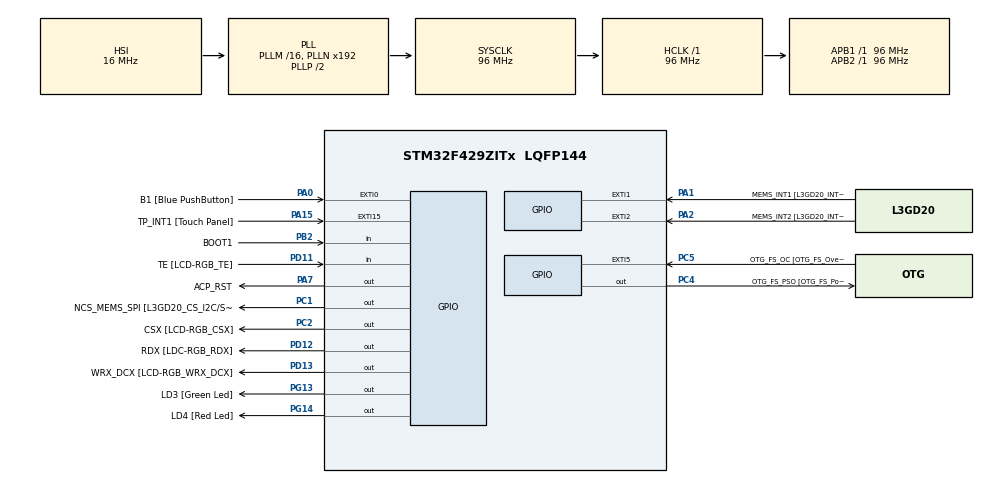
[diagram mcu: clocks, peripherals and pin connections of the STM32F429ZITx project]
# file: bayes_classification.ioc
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Mcu.Family=STM32F4
Mcu.Name=STM32F429ZITx
Mcu.Package=LQFP144
NVIC.PriorityGroup=NVIC_PRIORITYGROUP_0
PA0/WKUP.GPIO_Label=B1 [Blue PushButton]
PA0/WKUP.GPIO_ModeDefaultEXTI=GPIO_MODE_EVT_RISING
PA0/WKUP.GPIO_PuPd=GPIO_NOPULL
PA0/WKUP.Signal=GPXTI0
PA1.GPIO_Label=MEMS_INT1 [L3GD20_INT1]
PA1.GPIO_ModeDefaultEXTI=GPIO_MODE_EVT_RISING
PA1.GPIO_PuPd=GPIO_NOPULL
PA1.Signal=GPXTI1
PA10.GPIO_Label=STLINK_TX [STM32F103CBT6_PA2]
PA10.Signal=USART1_RX
PA11.GPIO_Label=R4
PA11.GPIO_Mode=GPIO_MODE_AF_PP
PA11.GPIO_PuPd=GPIO_NOPULL
PA11.GPIO_Speed=GPIO_SPEED_FREQ_LOW
PA11.Signal=LTDC_R4
PA12.GPIO_Label=R5
PA12.GPIO_Mode=GPIO_MODE_AF_PP
PA12.GPIO_PuPd=GPIO_NOPULL
PA12.GPIO_Speed=GPIO_SPEED_FREQ_LOW
PA12.Signal=LTDC_R5
PA13.GPIO_Label=SWDIO
PA13.Signal=SYS_JTMS-SWDIO
PA14.GPIO_Label=SWCLK
PA14.Signal=SYS_JTCK-SWCLK
PA15.GPIO_Label=TP_INT1 [Touch Panel]
PA15.GPIO_ModeDefaultEXTI=GPIO_MODE_EVT_RISING
PA15.GPIO_PuPd=GPIO_NOPULL
PA15.Signal=GPXTI15
PA2.GPIO_Label=MEMS_INT2 [L3GD20_INT2]
PA2.GPIO_ModeDefaultEXTI=GPIO_MODE_EVT_RISING
PA2.GPIO_PuPd=GPIO_NOPULL
PA2.Signal=GPXTI2
PA3.GPIO_Label=B5
PA3.GPIO_Mode=GPIO_MODE_AF_PP
PA3.GPIO_PuPd=GPIO_NOPULL
PA3.GPIO_Speed=GPIO_SPEED_FREQ_LOW
PA3.Signal=LTDC_B5
PA4.GPIO_Label=VSYNC
PA4.GPIO_Mode=GPIO_MODE_AF_PP
PA4.GPIO_PuPd=GPIO_NOPULL
PA4.GPIO_Speed=GPIO_SPEED_FREQ_LOW
PA4.Signal=LTDC_VSYNC
PA6.GPIO_Label=G2
PA6.GPIO_Mode=GPIO_MODE_AF_PP
PA6.GPIO_PuPd=GPIO_NOPULL
PA6.GPIO_Speed=GPIO_SPEED_FREQ_LOW
PA6.Signal=LTDC_G2
PA7.GPIO_Label=ACP_RST
PA7.GPIO_Mode=GPIO_MODE_OUTPUT_PP
PA7.GPIO_PuPd=GPIO_NOPULL
PA7.GPIO_Speed=GPIO_SPEED_FREQ_LOW
PA7.Signal=GPIO_Output
PA8.Signal=I2C3_SCL
PA9.GPIO_Label=STLINK_RX [STM32F103CBT6_PA3]
PA9.Signal=USART1_TX
PB0.GPIO_Label=R3
PB0.GPIO_Mode=GPIO_MODE_AF_PP
PB0.GPIO_PuPd=GPIO_NOPULL
PB0.GPIO_Speed=GPIO_SPEED_FREQ_LOW
PB0.Signal=LTDC_R3
PB1.GPIO_Label=R6
PB1.GPIO_Mode=GPIO_MODE_AF_PP
PB1.GPIO_PuPd=GPIO_NOPULL
PB1.GPIO_Speed=GPIO_SPEED_FREQ_LOW
PB1.Signal=LTDC_R6
PB10.GPIO_Label=G4
PB10.GPIO_Mode=GPIO_MODE_AF_PP
PB10.GPIO_PuPd=GPIO_NOPULL
PB10.GPIO_Speed=GPIO_SPEED_FREQ_LOW
PB10.Signal=LTDC_G4
PB11.GPIO_Label=G5
PB11.GPIO_Mode=GPIO_MODE_AF_PP
PB11.GPIO_PuPd=GPIO_NOPULL
PB11.GPIO_Speed=GPIO_SPEED_FREQ_LOW
PB11.Signal=LTDC_G5
PB12.GPIO_Label=OTG_HS_ID
PB12.GPIO_Mode=GPIO_MODE_AF_PP
PB12.GPIO_PuPd=GPIO_NOPULL
PB12.GPIO_Speed=GPIO_SPEED_FREQ_LOW
PB12.Signal=USB_OTG_HS_ID
PB13.GPIO_Label=VBUS_HS
PB13.GPIO_Mode=GPIO_MODE_INPUT
PB13.GPIO_PuPd=GPIO_NOPULL
PB13.Signal=USB_OTG_HS_VBUS
PB14.GPIO_Label=OTG_HS_DM
PB14.GPIO_Mode=GPIO_MODE_AF_PP
PB14.GPIO_PuPd=GPIO_NOPULL
PB14.GPIO_Speed=GPIO_SPEED_FREQ_LOW
PB14.Signal=USB_OTG_HS_DM
PB15.GPIO_Label=OTG_HS_DP
PB15.GPIO_Mode=GPIO_MODE_AF_PP
PB15.GPIO_PuPd=GPIO_NOPULL
PB15.GPIO_Speed=GPIO_SPEED_FREQ_LOW
PB15.Signal=USB_OTG_HS_DP
PB2/BOOT1.GPIO_Label=BOOT1
PB2/BOOT1.GPIO_Mode=GPIO_MODE_INPUT
PB2/BOOT1.GPIO_PuPd=GPIO_NOPULL
PB2/BOOT1.Signal=GPIO_Input
PB5.GPIO_Label=SDCKE1
PB5.GPIO_Mode=GPIO_MODE_AF_PP
PB5.GPIO_PuPd=GPIO_NOPULL
PB5.GPIO_Speed=GPIO_SPEED_FREQ_VERY_HIGH
PB5.Signal=FMC_SDCKE1
PB6.GPIO_Label=SDNE1 [SDRAM_CS]
PB6.GPIO_Mode=GPIO_MODE_AF_PP
PB6.GPIO_PuPd=GPIO_NOPULL
PB6.GPIO_Speed=GPIO_SPEED_FREQ_VERY_HIGH
PB6.Signal=FMC_SDNE1
PB8.GPIO_Label=B6
PB8.GPIO_Mode=GPIO_MODE_AF_PP
PB8.GPIO_PuPd=GPIO_NOPULL
PB8.GPIO_Speed=GPIO_SPEED_FREQ_LOW
PB8.Signal=LTDC_B6
PB9.GPIO_Label=B7
PB9.GPIO_Mode=GPIO_MODE_AF_PP
PB9.GPIO_PuPd=GPIO_NOPULL
PB9.GPIO_Speed=GPIO_SPEED_FREQ_LOW
PB9.Signal=LTDC_B7
PC0.GPIO_Label=SDNWE
PC0.GPIO_Mode=GPIO_MODE_AF_PP
PC0.GPIO_PuPd=GPIO_NOPULL
PC0.GPIO_Speed=GPIO_SPEED_FREQ_VERY_HIGH
PC0.Signal=FMC_SDNWE
PC1.GPIO_Label=NCS_MEMS_SPI [L3GD20_CS_I2C/SPI]
PC1.GPIO_Mode=GPIO_MODE_OUTPUT_PP
PC1.GPIO_PuPd=GPIO_NOPULL
PC1.GPIO_Speed=GPIO_SPEED_FREQ_LOW
PC1.Signal=GPIO_Output
PC10.GPIO_Label=R2
PC10.GPIO_Mode=GPIO_MODE_AF_PP
PC10.GPIO_PuPd=GPIO_NOPULL
PC10.GPIO_Speed=GPIO_SPEED_FREQ_LOW
PC10.Signal=LTDC_R2
PC14/OSC32_IN.GPIO_Label=PC14-OSC32_IN
PC14/OSC32_IN.Signal=RCC_OSC32_IN
PC15/OSC32_OUT.GPIO_Label=PC15-OSC32_OUT
PC15/OSC32_OUT.Signal=RCC_OSC32_OUT
PC2.GPIO_Label=CSX [LCD-RGB_CSX]
PC2.GPIO_Mode=GPIO_MODE_OUTPUT_PP
PC2.GPIO_PuPd=GPIO_NOPULL
PC2.GPIO_Speed=GPIO_SPEED_FREQ_LOW
PC2.Signal=GPIO_Output
PC4.GPIO_Label=OTG_FS_PSO [OTG_FS_PowerSwitchOn]
PC4.GPIO_Mode=GPIO_MODE_OUTPUT_PP
PC4.GPIO_PuPd=GPIO_NOPULL
PC4.GPIO_Speed=GPIO_SPEED_FREQ_LOW
PC4.Signal=GPIO_Output
PC5.GPIO_Label=OTG_FS_OC [OTG_FS_OverCurrent]
PC5.GPIO_ModeDefaultEXTI=GPIO_MODE_EVT_RISING
PC5.Signal=GPXTI5
PC6.GPIO_Label=HSYNC
PC6.GPIO_Mode=GPIO_MODE_AF_PP
PC6.GPIO_PuPd=GPIO_NOPULL
PC6.GPIO_Speed=GPIO_SPEED_FREQ_LOW
PC6.Signal=LTDC_HSYNC
PC7.GPIO_Label=G6
PC7.GPIO_Mode=GPIO_MODE_AF_PP
PC7.GPIO_PuPd=GPIO_NOPULL
PC7.GPIO_Speed=GPIO_SPEED_FREQ_LOW
PC7.Signal=LTDC_G6
PC9.GPIO_Label=I2C3_SDA [ACP/RF_SDA]
PC9.GPIO_Mode=GPIO_MODE_AF_OD
PC9.GPIO_PuPd=GPIO_NOPULL
PC9.GPIO_Speed=GPIO_SPEED_FREQ_LOW
PC9.Signal=I2C3_SDA
PD0.GPIO_Label=D2
PD0.GPIO_Mode=GPIO_MODE_AF_PP
PD0.GPIO_PuPd=GPIO_NOPULL
PD0.GPIO_Speed=GPIO_SPEED_FREQ_VERY_HIGH
PD0.Signal=FMC_D2_DA2
PD1.GPIO_Label=D3
PD1.GPIO_Mode=GPIO_MODE_AF_PP
PD1.GPIO_PuPd=GPIO_NOPULL
PD1.GPIO_Speed=GPIO_SPEED_FREQ_VERY_HIGH
PD1.Signal=FMC_D3_DA3
PD10.GPIO_Label=D15
PD10.GPIO_Mode=GPIO_MODE_AF_PP
PD10.GPIO_PuPd=GPIO_NOPULL
PD10.GPIO_Speed=GPIO_SPEED_FREQ_VERY_HIGH
PD10.Signal=FMC_D15_DA15
PD11.GPIO_Label=TE [LCD-RGB_TE]
PD11.GPIO_Mode=GPIO_MODE_INPUT
PD11.GPIO_PuPd=GPIO_NOPULL
PD11.Signal=GPIO_Input
PD12.GPIO_Label=RDX [LDC-RGB_RDX]
PD12.GPIO_Mode=GPIO_MODE_OUTPUT_PP
PD12.GPIO_PuPd=GPIO_NOPULL
PD12.GPIO_Speed=GPIO_SPEED_FREQ_LOW
PD12.Signal=GPIO_Output
PD13.GPIO_Label=WRX_DCX [LCD-RGB_WRX_DCX]
PD13.GPIO_Mode=GPIO_MODE_OUTPUT_PP
PD13.GPIO_PuPd=GPIO_NOPULL
PD13.GPIO_Speed=GPIO_SPEED_FREQ_LOW
PD13.Signal=GPIO_Output
PD14.GPIO_Label=D0
PD14.GPIO_Mode=GPIO_MODE_AF_PP
PD14.GPIO_PuPd=GPIO_NOPULL
PD14.GPIO_Speed=GPIO_SPEED_FREQ_VERY_HIGH
PD14.Signal=FMC_D0_DA0
PD15.GPIO_Label=D1
PD15.GPIO_Mode=GPIO_MODE_AF_PP
PD15.GPIO_PuPd=GPIO_NOPULL
PD15.GPIO_Speed=GPIO_SPEED_FREQ_VERY_HIGH
PD15.Signal=FMC_D1_DA1
PD3.GPIO_Label=G7
PD3.GPIO_Mode=GPIO_MODE_AF_PP
PD3.GPIO_PuPd=GPIO_NOPULL
PD3.GPIO_Speed=GPIO_SPEED_FREQ_LOW
PD3.Signal=LTDC_G7
PD6.GPIO_Label=B2
PD6.GPIO_Mode=GPIO_MODE_AF_PP
PD6.GPIO_PuPd=GPIO_NOPULL
PD6.GPIO_Speed=GPIO_SPEED_FREQ_LOW
PD6.Signal=LTDC_B2
PD8.GPIO_Label=D13
PD8.GPIO_Mode=GPIO_MODE_AF_PP
PD8.GPIO_PuPd=GPIO_NOPULL
PD8.GPIO_Speed=GPIO_SPEED_FREQ_VERY_HIGH
PD8.Signal=FMC_D13_DA13
PD9.GPIO_Label=D14
PD9.GPIO_Mode=GPIO_MODE_AF_PP
PD9.GPIO_PuPd=GPIO_NOPULL
PD9.GPIO_Speed=GPIO_SPEED_FREQ_VERY_HIGH
PD9.Signal=FMC_D14_DA14
PE0.GPIO_Label=NBL0 [SDRAM_LDQM]
PE0.GPIO_Mode=GPIO_MODE_AF_PP
PE0.GPIO_PuPd=GPIO_NOPULL
PE0.GPIO_Speed=GPIO_SPEED_FREQ_VERY_HIGH
PE0.Signal=FMC_NBL0
PE1.GPIO_Label=NBL1 [SDRAM_UDQM]
PE1.GPIO_Mode=GPIO_MODE_AF_PP
PE1.GPIO_PuPd=GPIO_NOPULL
PE1.GPIO_Speed=GPIO_SPEED_FREQ_VERY_HIGH
PE1.Signal=FMC_NBL1
PE10.GPIO_Label=D7
PE10.GPIO_Mode=GPIO_MODE_AF_PP
PE10.GPIO_PuPd=GPIO_NOPULL
PE10.GPIO_Speed=GPIO_SPEED_FREQ_VERY_HIGH
PE10.Signal=FMC_D7_DA7
PE11.GPIO_Label=D8
PE11.GPIO_Mode=GPIO_MODE_AF_PP
PE11.GPIO_PuPd=GPIO_NOPULL
PE11.GPIO_Speed=GPIO_SPEED_FREQ_VERY_HIGH
PE11.Signal=FMC_D8_DA8
PE12.GPIO_Label=D9
PE12.GPIO_Mode=GPIO_MODE_AF_PP
PE12.GPIO_PuPd=GPIO_NOPULL
PE12.GPIO_Speed=GPIO_SPEED_FREQ_VERY_HIGH
PE12.Signal=FMC_D9_DA9
PE13.GPIO_Label=D10
PE13.GPIO_Mode=GPIO_MODE_AF_PP
PE13.GPIO_PuPd=GPIO_NOPULL
PE13.GPIO_Speed=GPIO_SPEED_FREQ_VERY_HIGH
PE13.Signal=FMC_D10_DA10
PE14.GPIO_Label=D11
PE14.GPIO_Mode=GPIO_MODE_AF_PP
PE14.GPIO_PuPd=GPIO_NOPULL
PE14.GPIO_Speed=GPIO_SPEED_FREQ_VERY_HIGH
PE14.Signal=FMC_D11_DA11
PE15.GPIO_Label=D12
PE15.GPIO_Mode=GPIO_MODE_AF_PP
PE15.GPIO_PuPd=GPIO_NOPULL
PE15.GPIO_Speed=GPIO_SPEED_FREQ_VERY_HIGH
PE15.Signal=FMC_D12_DA12
PE7.GPIO_Label=D4
PE7.GPIO_Mode=GPIO_MODE_AF_PP
PE7.GPIO_PuPd=GPIO_NOPULL
PE7.GPIO_Speed=GPIO_SPEED_FREQ_VERY_HIGH
PE7.Signal=FMC_D4_DA4
PE8.GPIO_Label=D5
PE8.GPIO_Mode=GPIO_MODE_AF_PP
PE8.GPIO_PuPd=GPIO_NOPULL
PE8.GPIO_Speed=GPIO_SPEED_FREQ_VERY_HIGH
PE8.Signal=FMC_D5_DA5
PE9.GPIO_Label=D6
PE9.GPIO_Mode=GPIO_MODE_AF_PP
PE9.GPIO_PuPd=GPIO_NOPULL
PE9.GPIO_Speed=GPIO_SPEED_FREQ_VERY_HIGH
PE9.Signal=FMC_D6_DA6
PF0.GPIO_Label=A0
PF0.GPIO_Mode=GPIO_MODE_AF_PP
PF0.GPIO_PuPd=GPIO_NOPULL
PF0.GPIO_Speed=GPIO_SPEED_FREQ_VERY_HIGH
PF0.Signal=FMC_A0
PF1.GPIO_Label=A1
PF1.GPIO_Mode=GPIO_MODE_AF_PP
PF1.GPIO_PuPd=GPIO_NOPULL
PF1.GPIO_Speed=GPIO_SPEED_FREQ_VERY_HIGH
PF1.Signal=FMC_A1
PF10.GPIO_Label=ENABLE [LCD-RGB_ENABLE]
PF10.GPIO_Mode=GPIO_MODE_AF_PP
PF10.GPIO_PuPd=GPIO_NOPULL
PF10.GPIO_Speed=GPIO_SPEED_FREQ_LOW
PF10.Signal=LTDC_DE
PF11.GPIO_Label=SDNRAS
PF11.GPIO_Mode=GPIO_MODE_AF_PP
PF11.GPIO_PuPd=GPIO_NOPULL
PF11.GPIO_Speed=GPIO_SPEED_FREQ_VERY_HIGH
PF11.Signal=FMC_SDNRAS
PF12.GPIO_Label=A6
PF12.GPIO_Mode=GPIO_MODE_AF_PP
PF12.GPIO_PuPd=GPIO_NOPULL
PF12.GPIO_Speed=GPIO_SPEED_FREQ_VERY_HIGH
PF12.Signal=FMC_A6
PF13.GPIO_Label=A7
PF13.GPIO_Mode=GPIO_MODE_AF_PP
PF13.GPIO_PuPd=GPIO_NOPULL
PF13.GPIO_Speed=GPIO_SPEED_FREQ_VERY_HIGH
PF13.Signal=FMC_A7
PF14.GPIO_Label=A8
PF14.GPIO_Mode=GPIO_MODE_AF_PP
PF14.GPIO_PuPd=GPIO_NOPULL
PF14.GPIO_Speed=GPIO_SPEED_FREQ_VERY_HIGH
PF14.Signal=FMC_A8
PF15.GPIO_Label=A9
PF15.GPIO_Mode=GPIO_MODE_AF_PP
PF15.GPIO_PuPd=GPIO_NOPULL
PF15.GPIO_Speed=GPIO_SPEED_FREQ_VERY_HIGH
PF15.Signal=FMC_A9
PF2.GPIO_Label=A2
PF2.GPIO_Mode=GPIO_MODE_AF_PP
PF2.GPIO_PuPd=GPIO_NOPULL
PF2.GPIO_Speed=GPIO_SPEED_FREQ_VERY_HIGH
PF2.Signal=FMC_A2
PF3.GPIO_Label=A3
PF3.GPIO_Mode=GPIO_MODE_AF_PP
PF3.GPIO_PuPd=GPIO_NOPULL
PF3.GPIO_Speed=GPIO_SPEED_FREQ_VERY_HIGH
PF3.Signal=FMC_A3
PF4.GPIO_Label=A4
PF4.GPIO_Mode=GPIO_MODE_AF_PP
PF4.GPIO_PuPd=GPIO_NOPULL
PF4.GPIO_Speed=GPIO_SPEED_FREQ_VERY_HIGH
PF4.Signal=FMC_A4
PF5.GPIO_Label=A5
PF5.GPIO_Mode=GPIO_MODE_AF_PP
PF5.GPIO_PuPd=GPIO_NOPULL
PF5.GPIO_Speed=GPIO_SPEED_FREQ_VERY_HIGH
PF5.Signal=FMC_A5
PF7.GPIO_Label=SPI5_SCK [L3GD20_SCL/SPC]
PF7.GPIO_Mode=GPIO_MODE_AF_PP
PF7.GPIO_PuPd=GPIO_NOPULL
PF7.GPIO_Speed=GPIO_SPEED_FREQ_LOW
PF7.Signal=SPI5_SCK
PF8.GPIO_Label=SPI5_MISO [L3GD20_SDO]
PF8.GPIO_Mode=GPIO_MODE_AF_PP
PF8.GPIO_PuPd=GPIO_NOPULL
PF8.GPIO_Speed=GPIO_SPEED_FREQ_LOW
PF8.Signal=SPI5_MISO
PF9.GPIO_Label=SPI5_MOSI [L3GD20_SDA/SDI/SDO]
PF9.GPIO_Mode=GPIO_MODE_AF_PP
PF9.GPIO_PuPd=GPIO_NOPULL
PF9.GPIO_Speed=GPIO_SPEED_FREQ_LOW
PF9.Signal=SPI5_MOSI
PG0.GPIO_Label=A10
PG0.GPIO_Mode=GPIO_MODE_AF_PP
PG0.GPIO_PuPd=GPIO_NOPULL
PG0.GPIO_Speed=GPIO_SPEED_FREQ_VERY_HIGH
PG0.Signal=FMC_A10
PG1.GPIO_Label=A11
PG1.GPIO_Mode=GPIO_MODE_AF_PP
PG1.GPIO_PuPd=GPIO_NOPULL
PG1.GPIO_Speed=GPIO_SPEED_FREQ_VERY_HIGH
PG1.Signal=FMC_A11
PG10.GPIO_Label=G3
PG10.GPIO_Mode=GPIO_MODE_AF_PP
PG10.GPIO_PuPd=GPIO_NOPULL
PG10.GPIO_Speed=GPIO_SPEED_FREQ_LOW
PG10.Signal=LTDC_G3
PG11.GPIO_Label=B3
PG11.GPIO_Mode=GPIO_MODE_AF_PP
PG11.GPIO_PuPd=GPIO_NOPULL
PG11.GPIO_Speed=GPIO_SPEED_FREQ_LOW
PG11.Signal=LTDC_B3
PG12.GPIO_Label=B4
PG12.GPIO_Mode=GPIO_MODE_AF_PP
PG12.GPIO_PuPd=GPIO_NOPULL
PG12.GPIO_Speed=GPIO_SPEED_FREQ_LOW
PG12.Signal=LTDC_B4
PG13.GPIO_Label=LD3 [Green Led]
PG13.GPIO_Mode=GPIO_MODE_OUTPUT_PP
PG13.GPIO_PuPd=GPIO_NOPULL
PG13.GPIO_Speed=GPIO_SPEED_FREQ_LOW
PG13.Signal=GPIO_Output
PG14.GPIO_Label=LD4 [Red Led]
PG14.GPIO_Mode=GPIO_MODE_OUTPUT_PP
PG14.GPIO_PuPd=GPIO_PULLDOWN
PG14.GPIO_Speed=GPIO_SPEED_FREQ_LOW
PG14.PinState=GPIO_PIN_RESET
PG14.Signal=GPIO_Output
PG15.GPIO_Label=SDNCAS
PG15.GPIO_Mode=GPIO_MODE_AF_PP
PG15.GPIO_PuPd=GPIO_NOPULL
PG15.GPIO_Speed=GPIO_SPEED_FREQ_VERY_HIGH
PG15.Signal=FMC_SDNCAS
PG4.GPIO_Label=BA0
PG4.GPIO_Mode=GPIO_MODE_AF_PP
PG4.GPIO_PuPd=GPIO_NOPULL
PG4.GPIO_Speed=GPIO_SPEED_FREQ_VERY_HIGH
PG4.Signal=FMC_A14_BA0
PG5.GPIO_Label=BA1
PG5.GPIO_Mode=GPIO_MODE_AF_PP
PG5.GPIO_PuPd=GPIO_NOPULL
PG5.GPIO_Speed=GPIO_SPEED_FREQ_VERY_HIGH
PG5.Signal=FMC_A15_BA1
PG6.GPIO_Label=R7
PG6.GPIO_Mode=GPIO_MODE_AF_PP
PG6.GPIO_PuPd=GPIO_NOPULL
PG6.GPIO_Speed=GPIO_SPEED_FREQ_LOW
PG6.Signal=LTDC_R7
PG7.GPIO_Label=DOTCLK [LCT-RGB_DOTCLK]
PG7.GPIO_Mode=GPIO_MODE_AF_PP
PG7.GPIO_PuPd=GPIO_NOPULL
PG7.GPIO_Speed=GPIO_SPEED_FREQ_LOW
PG7.Signal=LTDC_CLK
PG8.GPIO_Label=SDCLK
PG8.GPIO_Mode=GPIO_MODE_AF_PP
PG8.GPIO_PuPd=GPIO_NOPULL
PG8.GPIO_Speed=GPIO_SPEED_FREQ_VERY_HIGH
PG8.Signal=FMC_SDCLK
PH0/OSC_IN.GPIO_Label=PH0-OSC_IN
PH0/OSC_IN.Signal=RCC_OSC_IN
PH1/OSC_OUT.GPIO_Label=PH1-OSC_OUT
PH1/OSC_OUT.Signal=RCC_OSC_OUT
ProjectManager.HeapSize=0x200
ProjectManager.StackSize=0x400
ProjectManager.TargetToolchain=STM32CubeIDE
RCC.AHBFreq_Value=96000000
RCC.APB1Freq_Value=96000000
RCC.APB1TimFreq_Value=96000000
RCC.APB2Freq_Value=96000000
RCC.APB2TimFreq_Value=96000000
RCC.CortexFreq_Value=96000000
RCC.HCLKFreq_Value=96000000
RCC.HSE_VALUE=25000000
RCC.HSI_VALUE=16000000
RCC.LSE_VALUE=32768
RCC.SYSCLKFreq_VALUE=96000000
RCC.SYSCLKSource=RCC_SYSCLKSOURCE_PLLCLK
RCC.VCOOutputFreq_Value=192000000
SH.FMC_A0.0=FMC_A0
SH.FMC_A1.0=FMC_A1
SH.FMC_A10.0=FMC_A10
SH.FMC_A11.0=FMC_A11
SH.FMC_A14_BA0.0=FMC_BA0
SH.FMC_A15_BA1.0=FMC_BA1
SH.FMC_A2.0=FMC_A2
SH.FMC_A3.0=FMC_A3
SH.FMC_A4.0=FMC_A4
SH.FMC_A5.0=FMC_A5
SH.FMC_A6.0=FMC_A6
SH.FMC_A7.0=FMC_A7
SH.FMC_A8.0=FMC_A8
SH.FMC_A9.0=FMC_A9
SH.FMC_D0_DA0.0=FMC_D0
SH.FMC_D10_DA10.0=FMC_D10
SH.FMC_D11_DA11.0=FMC_D11
SH.FMC_D12_DA12.0=FMC_D12
SH.FMC_D13_DA13.0=FMC_D13
SH.FMC_D14_DA14.0=FMC_D14
SH.FMC_D15_DA15.0=FMC_D15
SH.FMC_D1_DA1.0=FMC_D1
SH.FMC_D2_DA2.0=FMC_D2
SH.FMC_D3_DA3.0=FMC_D3
SH.FMC_D4_DA4.0=FMC_D4
SH.FMC_D5_DA5.0=FMC_D5
SH.FMC_D6_DA6.0=FMC_D6
SH.FMC_D7_DA7.0=FMC_D7
SH.FMC_D8_DA8.0=FMC_D8
SH.FMC_D9_DA9.0=FMC_D9
SH.FMC_NBL0.0=FMC_NBL0
SH.FMC_NBL1.0=FMC_NBL1
SH.FMC_SDCLK.0=FMC_SDCLK
SH.FMC_SDNCAS.0=FMC_SDNCAS
SH.FMC_SDNRAS.0=FMC_SDNRAS
SH.FMC_SDNWE.0=FMC_SDNWE
board=STM32F429I-DISC1

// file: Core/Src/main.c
/* USER CODE BEGIN Header */
/**
  ******************************************************************************
  * @file           : main.c
  * @brief          : Main program body
  ******************************************************************************
  * @attention
  *
  * <h2><center>&copy; Copyright (c) 2022 STMicroelectronics.
  * All rights reserved.</center></h2>
  *
  * This software component is licensed by ST under BSD 3-Clause license,
  * the "License"; You may not use this file except in compliance with the
  * License. You may obtain a copy of the License at:
  *                        opensource.org/licenses/BSD-3-Clause
  *
  ******************************************************************************
  */
/* USER CODE END Header */

#include "main.h"

/* USER CODE BEGIN Includes */
#include <stdio.h>
#include "Matrix.h"
#include "bayes_inference.h"
/* USER CODE END Includes */

void SystemClock_Config(void);
static void MX_GPIO_Init(void);

int main(void)
{

  /* MCU Configuration--------------------------------------------------------*/

  /* Reset of all peripherals, Initializes the Flash interface and the Systick. */
  HAL_Init();

  /* Configure the system clock */
  SystemClock_Config();

  /* Initialize all configured peripherals */
  MX_GPIO_Init();

  /* Infinite loop */
  /* USER CODE BEGIN WHILE */
  while (1)
  {
	Matrix *x;
	x = create_matrix(NUM_FEATURES, 1); // should be read from a sensor
	x->data[0][0] = 1.00;
	x->data[1][0] = 5.00;
	float *bayes_result = run_bayes_classifier(x);
//	for(int cls = 0; cls < NUM_CLASSES; cls++)
//		printf("Score for %s is: %f\n", LABELS[cls], bayes_result[cls]);
	//    printf("Decided --> %s\n", LABELS[largest(bayes_result)]);
	int result = largest(bayes_result);
	if (result == 0){
	HAL_GPIO_WritePin(GPIOG, GPIO_PIN_13, GPIO_PIN_RESET);
	HAL_GPIO_WritePin(GPIOG, GPIO_PIN_14, GPIO_PIN_RESET);
	}
	else if (result == 1){
	HAL_GPIO_WritePin(GPIOG, GPIO_PIN_13, GPIO_PIN_SET);
	HAL_GPIO_WritePin(GPIOG, GPIO_PIN_14, GPIO_PIN_RESET);
	}
	else if (result == 2){
	HAL_GPIO_WritePin(GPIOG, GPIO_PIN_13, GPIO_PIN_SET);
	HAL_GPIO_WritePin(GPIOG, GPIO_PIN_14, GPIO_PIN_SET);
	}

	return 0;
    /* USER CODE END WHILE */

  }
}

void SystemClock_Config(void)
{
  RCC_OscInitTypeDef RCC_OscInitStruct = {0};
  RCC_ClkInitTypeDef RCC_ClkInitStruct = {0};

  /** Configure the main internal regulator output voltage
  */
  __HAL_RCC_PWR_CLK_ENABLE();
  __HAL_PWR_VOLTAGESCALING_CONFIG(PWR_REGULATOR_VOLTAGE_SCALE3);
  /** Initializes the CPU, AHB and APB busses clocks
  */
  RCC_OscInitStruct.OscillatorType = RCC_OSCILLATORTYPE_HSI;
  RCC_OscInitStruct.HSIState = RCC_HSI_ON;
  RCC_OscInitStruct.HSICalibrationValue = RCC_HSICALIBRATION_DEFAULT;
  RCC_OscInitStruct.PLL.PLLState = RCC_PLL_ON;
  RCC_OscInitStruct.PLL.PLLSource = RCC_PLLSOURCE_HSI;
  RCC_OscInitStruct.PLL.PLLM = 16;
  RCC_OscInitStruct.PLL.PLLN = 192;
  RCC_OscInitStruct.PLL.PLLP = RCC_PLLP_DIV2;
  RCC_OscInitStruct.PLL.PLLQ = 4;
  if (HAL_RCC_OscConfig(&RCC_OscInitStruct) != HAL_OK)
  {
    Error_Handler();
  }
  /** Activate the Over-Drive mode
  */
  if (HAL_PWREx_EnableOverDrive() != HAL_OK)
  {
    Error_Handler();
  }
  /** Initializes the CPU, AHB and APB busses clocks
  */
  RCC_ClkInitStruct.ClockType = RCC_CLOCKTYPE_HCLK|RCC_CLOCKTYPE_SYSCLK
                              |RCC_CLOCKTYPE_PCLK1|RCC_CLOCKTYPE_PCLK2;
  RCC_ClkInitStruct.SYSCLKSource = RCC_SYSCLKSOURCE_PLLCLK;
  RCC_ClkInitStruct.AHBCLKDivider = RCC_SYSCLK_DIV1;
  RCC_ClkInitStruct.APB1CLKDivider = RCC_HCLK_DIV1;
  RCC_ClkInitStruct.APB2CLKDivider = RCC_HCLK_DIV1;

  if (HAL_RCC_ClockConfig(&RCC_ClkInitStruct, FLASH_LATENCY_3) != HAL_OK)
  {
    Error_Handler();
  }
}

static void MX_GPIO_Init(void)
{
  GPIO_InitTypeDef GPIO_InitStruct = {0};

  /* GPIO Ports Clock Enable */
  __HAL_RCC_GPIOC_CLK_ENABLE();
  __HAL_RCC_GPIOF_CLK_ENABLE();
  __HAL_RCC_GPIOH_CLK_ENABLE();
  __HAL_RCC_GPIOA_CLK_ENABLE();
  __HAL_RCC_GPIOB_CLK_ENABLE();
  __HAL_RCC_GPIOG_CLK_ENABLE();
  __HAL_RCC_GPIOE_CLK_ENABLE();
  __HAL_RCC_GPIOD_CLK_ENABLE();

  /*Configure GPIO pin Output Level */
  HAL_GPIO_WritePin(GPIOC, NCS_MEMS_SPI_Pin|CSX_Pin|OTG_FS_PSO_Pin, GPIO_PIN_RESET);

  /*Configure GPIO pin Output Level */
  HAL_GPIO_WritePin(ACP_RST_GPIO_Port, ACP_RST_Pin, GPIO_PIN_RESET);

  /*Configure GPIO pin Output Level */
  HAL_GPIO_WritePin(GPIOD, RDX_Pin|WRX_DCX_Pin, GPIO_PIN_RESET);

  /*Configure GPIO pin Output Level */
  HAL_GPIO_WritePin(GPIOG, LD3_Pin|LD4_Pin, GPIO_PIN_RESET);

  /*Configure GPIO pins : A0_Pin A1_Pin A2_Pin A3_Pin
                           A4_Pin A5_Pin SDNRAS_Pin A6_Pin
                           A7_Pin A8_Pin A9_Pin */
  GPIO_InitStruct.Pin = A0_Pin|A1_Pin|A2_Pin|A3_Pin
                          |A4_Pin|A5_Pin|SDNRAS_Pin|A6_Pin
                          |A7_Pin|A8_Pin|A9_Pin;
  GPIO_InitStruct.Mode = GPIO_MODE_AF_PP;
  GPIO_InitStruct.Pull = GPIO_NOPULL;
  GPIO_InitStruct.Speed = GPIO_SPEED_FREQ_VERY_HIGH;
  GPIO_InitStruct.Alternate = GPIO_AF12_FMC;
  HAL_GPIO_Init(GPIOF, &GPIO_InitStruct);

  /*Configure GPIO pins : SPI5_SCK_Pin SPI5_MISO_Pin SPI5_MOSI_Pin */
  GPIO_InitStruct.Pin = SPI5_SCK_Pin|SPI5_MISO_Pin|SPI5_MOSI_Pin;
  GPIO_InitStruct.Mode = GPIO_MODE_AF_PP;
  GPIO_InitStruct.Pull = GPIO_NOPULL;
  GPIO_InitStruct.Speed = GPIO_SPEED_FREQ_LOW;
  GPIO_InitStruct.Alternate = GPIO_AF5_SPI5;
  HAL_GPIO_Init(GPIOF, &GPIO_InitStruct);

  /*Configure GPIO pin : ENABLE_Pin */
  GPIO_InitStruct.Pin = ENABLE_Pin;
  GPIO_InitStruct.Mode = GPIO_MODE_AF_PP;
  GPIO_InitStruct.Pull = GPIO_NOPULL;
  GPIO_InitStruct.Speed = GPIO_SPEED_FREQ_LOW;
  GPIO_InitStruct.Alternate = GPIO_AF14_LTDC;
  HAL_GPIO_Init(ENABLE_GPIO_Port, &GPIO_InitStruct);

  /*Configure GPIO pin : SDNWE_Pin */
  GPIO_InitStruct.Pin = SDNWE_Pin;
  GPIO_InitStruct.Mode = GPIO_MODE_AF_PP;
  GPIO_InitStruct.Pull = GPIO_NOPULL;
  GPIO_InitStruct.Speed = GPIO_SPEED_FREQ_VERY_HIGH;
  GPIO_InitStruct.Alternate = GPIO_AF12_FMC;
  HAL_GPIO_Init(SDNWE_GPIO_Port, &GPIO_InitStruct);

  /*Configure GPIO pins : NCS_MEMS_SPI_Pin CSX_Pin OTG_FS_PSO_Pin */
  GPIO_InitStruct.Pin = NCS_MEMS_SPI_Pin|CSX_Pin|OTG_FS_PSO_Pin;
  GPIO_InitStruct.Mode = GPIO_MODE_OUTPUT_PP;
  GPIO_InitStruct.Pull = GPIO_NOPULL;
  GPIO_InitStruct.Speed = GPIO_SPEED_FREQ_LOW;
  HAL_GPIO_Init(GPIOC, &GPIO_InitStruct);

  /*Configure GPIO pins : B1_Pin MEMS_INT1_Pin MEMS_INT2_Pin TP_INT1_Pin */
  GPIO_InitStruct.Pin = B1_Pin|MEMS_INT1_Pin|MEMS_INT2_Pin|TP_INT1_Pin;
  GPIO_InitStruct.Mode = GPIO_MODE_EVT_RISING;
  GPIO_InitStruct.Pull = GPIO_NOPULL;
  HAL_GPIO_Init(GPIOA, &GPIO_InitStruct);

  /*Configure GPIO pins : B5_Pin VSYNC_Pin G2_Pin R4_Pin
                           R5_Pin */
  GPIO_InitStruct.Pin = B5_Pin|VSYNC_Pin|G2_Pin|R4_Pin
                          |R5_Pin;
  GPIO_InitStruct.Mode = GPIO_MODE_AF_PP;
  GPIO_InitStruct.Pull = GPIO_NOPULL;
  GPIO_InitStruct.Speed = GPIO_SPEED_FREQ_LOW;
  GPIO_InitStruct.Alternate = GPIO_AF14_LTDC;
  HAL_GPIO_Init(GPIOA, &GPIO_InitStruct);

  /*Configure GPIO pin : ACP_RST_Pin */
  GPIO_InitStruct.Pin = ACP_RST_Pin;
  GPIO_InitStruct.Mode = GPIO_MODE_OUTPUT_PP;
  GPIO_InitStruct.Pull = GPIO_NOPULL;
  GPIO_InitStruct.Speed = GPIO_SPEED_FREQ_LOW;
  HAL_GPIO_Init(ACP_RST_GPIO_Port, &GPIO_InitStruct);

  /*Configure GPIO pin : OTG_FS_OC_Pin */
  GPIO_InitStruct.Pin = OTG_FS_OC_Pin;
  GPIO_InitStruct.Mode = GPIO_MODE_EVT_RISING;
  GPIO_InitStruct.Pull = GPIO_NOPULL;
  HAL_GPIO_Init(OTG_FS_OC_GPIO_Port, &GPIO_InitStruct);

  /*Configure GPIO pins : R3_Pin R6_Pin */
  GPIO_InitStruct.Pin = R3_Pin|R6_Pin;
  GPIO_InitStruct.Mode = GPIO_MODE_AF_PP;
  GPIO_InitStruct.Pull = GPIO_NOPULL;
  GPIO_InitStruct.Speed = GPIO_SPEED_FREQ_LOW;
  GPIO_InitStruct.Alternate = GPIO_AF9_LTDC;
  HAL_GPIO_Init(GPIOB, &GPIO_InitStruct);

  /*Configure GPIO pin : BOOT1_Pin */
  GPIO_InitStruct.Pin = BOOT1_Pin;
  GPIO_InitStruct.Mode = GPIO_MODE_INPUT;
  GPIO_InitStruct.Pull = GPIO_NOPULL;
  HAL_GPIO_Init(BOOT1_GPIO_Port, &GPIO_InitStruct);

  /*Configure GPIO pins : A10_Pin A11_Pin BA0_Pin BA1_Pin
                           SDCLK_Pin SDNCAS_Pin */
  GPIO_InitStruct.Pin = A10_Pin|A11_Pin|BA0_Pin|BA1_Pin
                          |SDCLK_Pin|SDNCAS_Pin;
  GPIO_InitStruct.Mode = GPIO_MODE_AF_PP;
  GPIO_InitStruct.Pull = GPIO_NOPULL;
  GPIO_InitStruct.Speed = GPIO_SPEED_FREQ_VERY_HIGH;
  GPIO_InitStruct.Alternate = GPIO_AF12_FMC;
  HAL_GPIO_Init(GPIOG, &GPIO_InitStruct);

  /*Configure GPIO pins : D4_Pin D5_Pin D6_Pin D7_Pin
                           D8_Pin D9_Pin D10_Pin D11_Pin
                           D12_Pin NBL0_Pin NBL1_Pin */
  GPIO_InitStruct.Pin = D4_Pin|D5_Pin|D6_Pin|D7_Pin
                          |D8_Pin|D9_Pin|D10_Pin|D11_Pin
                          |D12_Pin|NBL0_Pin|NBL1_Pin;
  GPIO_InitStruct.Mode = GPIO_MODE_AF_PP;
  GPIO_InitStruct.Pull = GPIO_NOPULL;
  GPIO_InitStruct.Speed = GPIO_SPEED_FREQ_VERY_HIGH;
  GPIO_InitStruct.Alternate = GPIO_AF12_FMC;
  HAL_GPIO_Init(GPIOE, &GPIO_InitStruct);

  /*Configure GPIO pins : G4_Pin G5_Pin B6_Pin B7_Pin */
  GPIO_InitStruct.Pin = G4_Pin|G5_Pin|B6_Pin|B7_Pin;
  GPIO_InitStruct.Mode = GPIO_MODE_AF_PP;
  GPIO_InitStruct.Pull = GPIO_NOPULL;
  GPIO_InitStruct.Speed = GPIO_SPEED_FREQ_LOW;
  GPIO_InitStruct.Alternate = GPIO_AF14_LTDC;
  HAL_GPIO_Init(GPIOB, &GPIO_InitStruct);

  /*Configure GPIO pins : OTG_HS_ID_Pin OTG_HS_DM_Pin OTG_HS_DP_Pin */
  GPIO_InitStruct.Pin = OTG_HS_ID_Pin|OTG_HS_DM_Pin|OTG_HS_DP_Pin;
  GPIO_InitStruct.Mode = GPIO_MODE_AF_PP;
  GPIO_InitStruct.Pull = GPIO_NOPULL;
  GPIO_InitStruct.Speed = GPIO_SPEED_FREQ_LOW;
  GPIO_InitStruct.Alternate = GPIO_AF12_OTG_HS_FS;
  HAL_GPIO_Init(GPIOB, &GPIO_InitStruct);

  /*Configure GPIO pin : VBUS_HS_Pin */
  GPIO_InitStruct.Pin = VBUS_HS_Pin;
  GPIO_InitStruct.Mode = GPIO_MODE_INPUT;
  GPIO_InitStruct.Pull = GPIO_NOPULL;
  HAL_GPIO_Init(VBUS_HS_GPIO_Port, &GPIO_InitStruct);

  /*Configure GPIO pins : D13_Pin D14_Pin D15_Pin D0_Pin
                           D1_Pin D2_Pin D3_Pin */
  GPIO_InitStruct.Pin = D13_Pin|D14_Pin|D15_Pin|D0_Pin
                          |D1_Pin|D2_Pin|D3_Pin;
  GPIO_InitStruct.Mode = GPIO_MODE_AF_PP;
  GPIO_InitStruct.Pull = GPIO_NOPULL;
  GPIO_InitStruct.Speed = GPIO_SPEED_FREQ_VERY_HIGH;
  GPIO_InitStruct.Alternate = GPIO_AF12_FMC;
  HAL_GPIO_Init(GPIOD, &GPIO_InitStruct);

  /*Configure GPIO pin : TE_Pin */
  GPIO_InitStruct.Pin = TE_Pin;
  GPIO_InitStruct.Mode = GPIO_MODE_INPUT;
  GPIO_InitStruct.Pull = GPIO_NOPULL;
  HAL_GPIO_Init(TE_GPIO_Port, &GPIO_InitStruct);

  /*Configure GPIO pins : RDX_Pin WRX_DCX_Pin */
  GPIO_InitStruct.Pin = RDX_Pin|WRX_DCX_Pin;
  GPIO_InitStruct.Mode = GPIO_MODE_OUTPUT_PP;
  GPIO_InitStruct.Pull = GPIO_NOPULL;
  GPIO_InitStruct.Speed = GPIO_SPEED_FREQ_LOW;
  HAL_GPIO_Init(GPIOD, &GPIO_InitStruct);

  /*Configure GPIO pins : R7_Pin DOTCLK_Pin B3_Pin */
  GPIO_InitStruct.Pin = R7_Pin|DOTCLK_Pin|B3_Pin;
  GPIO_InitStruct.Mode = GPIO_MODE_AF_PP;
  GPIO_InitStruct.Pull = GPIO_NOPULL;
  GPIO_InitStruct.Speed = GPIO_SPEED_FREQ_LOW;
  GPIO_InitStruct.Alternate = GPIO_AF14_LTDC;
  HAL_GPIO_Init(GPIOG, &GPIO_InitStruct);

  /*Configure GPIO pins : HSYNC_Pin G6_Pin R2_Pin */
  GPIO_InitStruct.Pin = HSYNC_Pin|G6_Pin|R2_Pin;
  GPIO_InitStruct.Mode = GPIO_MODE_AF_PP;
  GPIO_InitStruct.Pull = GPIO_NOPULL;
  GPIO_InitStruct.Speed = GPIO_SPEED_FREQ_LOW;
  GPIO_InitStruct.Alternate = GPIO_AF14_LTDC;
  HAL_GPIO_Init(GPIOC, &GPIO_InitStruct);

  /*Configure GPIO pin : I2C3_SDA_Pin */
  GPIO_InitStruct.Pin = I2C3_SDA_Pin;
  GPIO_InitStruct.Mode = GPIO_MODE_AF_OD;
  GPIO_InitStruct.Pull = GPIO_PULLUP;
  GPIO_InitStruct.Speed = GPIO_SPEED_FREQ_LOW;
  GPIO_InitStruct.Alternate = GPIO_AF4_I2C3;
  HAL_GPIO_Init(I2C3_SDA_GPIO_Port, &GPIO_InitStruct);

  /*Configure GPIO pin : PA8 */
  GPIO_InitStruct.Pin = GPIO_PIN_8;
  GPIO_InitStruct.Mode = GPIO_MODE_AF_OD;
  GPIO_InitStruct.Pull = GPIO_PULLUP;
  GPIO_InitStruct.Speed = GPIO_SPEED_FREQ_VERY_HIGH;
  GPIO_InitStruct.Alternate = GPIO_AF4_I2C3;
  HAL_GPIO_Init(GPIOA, &GPIO_InitStruct);

  /*Configure GPIO pins : STLINK_RX_Pin STLINK_TX_Pin */
  GPIO_InitStruct.Pin = STLINK_RX_Pin|STLINK_TX_Pin;
  GPIO_InitStruct.Mode = GPIO_MODE_AF_PP;
  GPIO_InitStruct.Pull = GPIO_NOPULL;
  GPIO_InitStruct.Speed = GPIO_SPEED_FREQ_VERY_HIGH;
  GPIO_InitStruct.Alternate = GPIO_AF7_USART1;
  HAL_GPIO_Init(GPIOA, &GPIO_InitStruct);

  /*Configure GPIO pins : G7_Pin B2_Pin */
  GPIO_InitStruct.Pin = G7_Pin|B2_Pin;
  GPIO_InitStruct.Mode = GPIO_MODE_AF_PP;
  GPIO_InitStruct.Pull = GPIO_NOPULL;
  GPIO_InitStruct.Speed = GPIO_SPEED_FREQ_LOW;
  GPIO_InitStruct.Alternate = GPIO_AF14_LTDC;
  HAL_GPIO_Init(GPIOD, &GPIO_InitStruct);

  /*Configure GPIO pins : G3_Pin B4_Pin */
  GPIO_InitStruct.Pin = G3_Pin|B4_Pin;
  GPIO_InitStruct.Mode = GPIO_MODE_AF_PP;
  GPIO_InitStruct.Pull = GPIO_NOPULL;
  GPIO_InitStruct.Speed = GPIO_SPEED_FREQ_LOW;
  GPIO_InitStruct.Alternate = GPIO_AF9_LTDC;
  HAL_GPIO_Init(GPIOG, &GPIO_InitStruct);

  /*Configure GPIO pin : LD3_Pin */
  GPIO_InitStruct.Pin = LD3_Pin;
  GPIO_InitStruct.Mode = GPIO_MODE_OUTPUT_PP;
  GPIO_InitStruct.Pull = GPIO_NOPULL;
  GPIO_InitStruct.Speed = GPIO_SPEED_FREQ_LOW;
  HAL_GPIO_Init(LD3_GPIO_Port, &GPIO_InitStruct);

  /*Configure GPIO pin : LD4_Pin */
  GPIO_InitStruct.Pin = LD4_Pin;
  GPIO_InitStruct.Mode = GPIO_MODE_OUTPUT_PP;
  GPIO_InitStruct.Pull = GPIO_PULLDOWN;
  GPIO_InitStruct.Speed = GPIO_SPEED_FREQ_LOW;
  HAL_GPIO_Init(LD4_GPIO_Port, &GPIO_InitStruct);

  /*Configure GPIO pins : SDCKE1_Pin SDNE1_Pin */
  GPIO_InitStruct.Pin = SDCKE1_Pin|SDNE1_Pin;
  GPIO_InitStruct.Mode = GPIO_MODE_AF_PP;
  GPIO_InitStruct.Pull = GPIO_NOPULL;
  GPIO_InitStruct.Speed = GPIO_SPEED_FREQ_VERY_HIGH;
  GPIO_InitStruct.Alternate = GPIO_AF12_FMC;
  HAL_GPIO_Init(GPIOB, &GPIO_InitStruct);

}

void Error_Handler(void)
{
}

/************************ (C) COPYRIGHT STMicroelectronics *****END OF FILE****/
